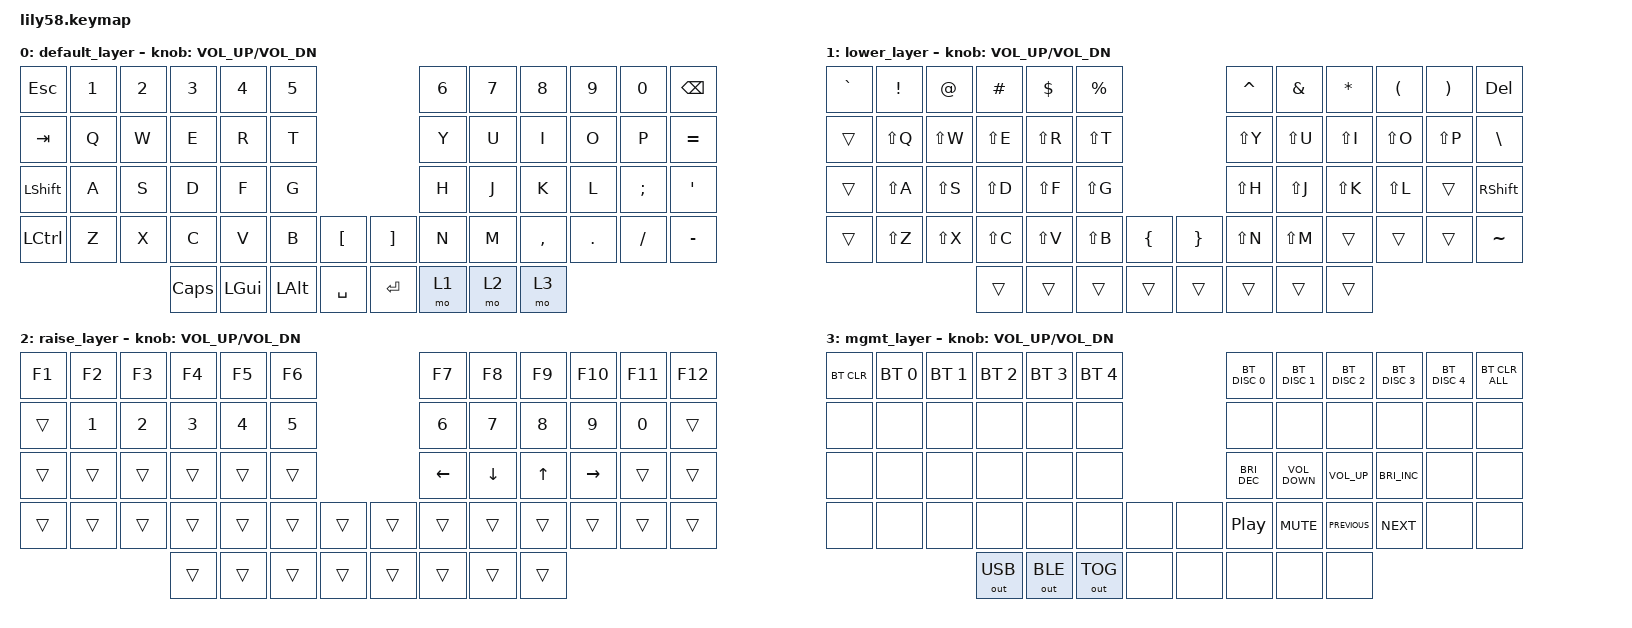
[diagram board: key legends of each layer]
/*
 * Copyright (c) 2020 The ZMK Contributors
 *
 * SPDX-License-Identifier: MIT
 */

#include <behaviors.dtsi>
#include <dt-bindings/zmk/bt.h>
#include <dt-bindings/zmk/keys.h>
#include <dt-bindings/zmk/outputs.h>

/ {
    keymap {
        compatible = "zmk,keymap";

        default_layer {
            // -------------------------------------------------------------------------------------------------------
            // |  ESC  |  1  |  2  |  3   |  4   |  5   |                  |  6    |  7    |  8   |  9  |  0  | BSPC |
            // |  TAB  |  Q  |  W  |  E   |  R   |  T   |                  |  Y    |  U    |  I   |  O  |  P  |  =   |
            // |  CTRL |  A  |  S  |  D   |  F   |  G   |                  |  H    |  J    |  K   |  L  |  ;  |  '   |
            // | SHIFT |  Z  |  X  |  C   |  V   |  B   |  "["  |  |  "]"  |  N    |  M    |  ,   |  .  |  /  |  -   |
            //                     | CAPS | GUI  | LALT | SPACE |  | ENTER | LOWER | RAISE | RALT |

            bindings = <
&kp ESC    &kp N1  &kp N2  &kp N3    &kp N4    &kp N5                            &kp N6  &kp N7  &kp N8     &kp N9   &kp N0    &kp BSPC
&kp TAB    &kp Q   &kp W   &kp E     &kp R     &kp T                             &kp Y   &kp U   &kp I      &kp O    &kp P     &kp EQUAL
&kp LSHFT  &kp A   &kp S   &kp D     &kp F     &kp G                             &kp H   &kp J   &kp K      &kp L    &kp SEMI  &kp SQT
&kp LCTRL  &kp Z   &kp X   &kp C     &kp V     &kp B     &kp LBKT     &kp RBKT   &kp N   &kp M   &kp COMMA  &kp DOT  &kp FSLH  &kp MINUS
                           &kp CAPS  &kp LGUI  &kp LALT  &kp SPACE    &kp ENTER  &mo 1   &mo 2   &mo 3
            >;

            sensor-bindings = <&inc_dec_kp C_VOL_UP C_VOL_DN>;
        };

        lower_layer {
            // ------------------------------------------------------------------------------------------------------------
            // |  `  |   !   |   @   |   #   |   $   |   %   |           |   ^   |   &   |   *   |   (   |   )   | DELETE |
            // |     | CAP_Q | CAP_W | CAP_E | CAP_R | CAP_T |           | CAP_Y | CAP_U | CAP_I | CAP_O | CAP_P |    \   |
            // |     | CAP_A | CAP_S | CAP_D | CAP_F | CAP_G |           | CAP_H | CAP_J | CAP_K | CAP_L |       |  SHIFT |
            // |     | CAP_Z | CAP_X | CAP_C | CAP_V | CAP_B | "{" | "}" | CAP_N | CAP_M |       |       |       |    ~   |
            //                       |       |       |       |     |     |       |       |       |

            bindings = <
&kp GRAVE  &kp EXCLAMATION  &kp AT_SIGN  &kp POUND  &kp DOLLAR  &kp PERCENT                                     &kp CARET  &kp AMPERSAND  &kp ASTERISK  &kp LEFT_PARENTHESIS  &kp RIGHT_PARENTHESIS  &kp DELETE
&trans     &kp LS(Q)        &kp LS(W)    &kp LS(E)  &kp LS(R)   &kp LS(T)                                       &kp LS(Y)  &kp LS(U)      &kp LS(I)     &kp LS(O)             &kp LS(P)              &kp BSLH
&trans     &kp LS(A)        &kp LS(S)    &kp LS(D)  &kp LS(F)   &kp LS(G)                                       &kp LS(H)  &kp LS(J)      &kp LS(K)     &kp LS(L)             &trans                 &kp RSHFT
&trans     &kp LS(Z)        &kp LS(X)    &kp LS(C)  &kp LS(V)   &kp LS(B)    &kp LEFT_BRACE    &kp RIGHT_BRACE  &kp LS(N)  &kp LS(M)      &trans        &trans                &trans                 &kp TILDE
                                         &trans     &trans      &trans       &trans            &trans           &trans     &trans         &trans
            >;

            sensor-bindings = <&inc_dec_kp C_VOL_UP C_VOL_DN>;
        };

        raise_layer {
            // -------------------------------------------------------------------------------------------------
            // |  F1  |  F2  |  F3  |  F4  |  F5  |  F6  |        |  F7  |  F8  |  F9  |  F10  |  F11  |  F12  |
            // |      |  1   |  2   |  3   |  4   |  5   |        |  6   |  7   |  8   |  9    |  0    |       |
            // |      |      |      |      |      |      |        |  <-  |  v   |  ^   |  ->   |       |       |
            // |      |      |      |      |      |      |        |      |      |      |       |       |       |
            //                      |      |      |      |  |  |  |      |      |      |

            bindings = <
&kp F1  &kp F2  &kp F3  &kp F4  &kp F5  &kp F6                    &kp F7    &kp F8    &kp F9  &kp F10    &kp F11  &kp F12
&trans  &kp N1  &kp N2  &kp N3  &kp N4  &kp N5                    &kp N6    &kp N7    &kp N8  &kp N9     &kp N0   &trans
&trans  &trans  &trans  &trans  &trans  &trans                    &kp LEFT  &kp DOWN  &kp UP  &kp RIGHT  &trans   &trans
&trans  &trans  &trans  &trans  &trans  &trans  &trans    &trans  &trans    &trans    &trans  &trans     &trans   &trans
                        &trans  &trans  &trans  &trans    &trans  &trans    &trans    &trans
            >;

            sensor-bindings = <&inc_dec_kp C_VOL_UP C_VOL_DN>;
        };

        mgmt_layer {
            // ---------------------------------------------------------------------------------------------------------------------------------------------------
            // | BT_CLR | BT_SEL 0 | BT_SEL 1 | BT_SEL 2 | BT_SEL 3 | BT_SEL 4 |        | BT_DISC 0 | BT_DISC 1 | BT_DISC 2 | BT_DISC 3 | BT_DISC 4 | BT_CLR_ALL |
            // |        |          |          |          |          |          |        |           |           |           |           |           |            |
            // |        |          |          |          |          |          |        | BRDEC     | VDWN      |  VUP      | BRINC     |           |            |
            // |        |          |          |          |          |          |  |  |  |  PLAY     | MUTE      | PREV      |  NEXT     |           |            |
            //                                |  OUT_USB |  OUT_BLE |  OUT_TOG |  |  |  |           |           |           |

            bindings = <
&bt BT_CLR  &bt BT_SEL 0  &bt BT_SEL 1  &bt BT_SEL 2  &bt BT_SEL 3  &bt BT_SEL 4                  &bt BT_DISC 0         &bt BT_DISC 1      &bt BT_DISC 2    &bt BT_DISC 3         &bt BT_DISC 4  &bt BT_CLR_ALL
&none       &none         &none         &none         &none         &none                         &none                 &none              &none            &none                 &none          &none
&none       &none         &none         &none         &none         &none                         &kp C_BRIGHTNESS_DEC  &kp C_VOLUME_DOWN  &kp C_VOLUME_UP  &kp C_BRIGHTNESS_INC  &none          &none
&none       &none         &none         &none         &none         &none         &none    &none  &kp C_PLAY_PAUSE      &kp C_MUTE         &kp C_PREVIOUS   &kp C_NEXT            &none          &none
                                        &out OUT_USB  &out OUT_BLE  &out OUT_TOG  &none    &none  &none                 &none              &none
            >;

            sensor-bindings = <&inc_dec_kp C_VOL_UP C_VOL_DN>;
        };
    };
};
